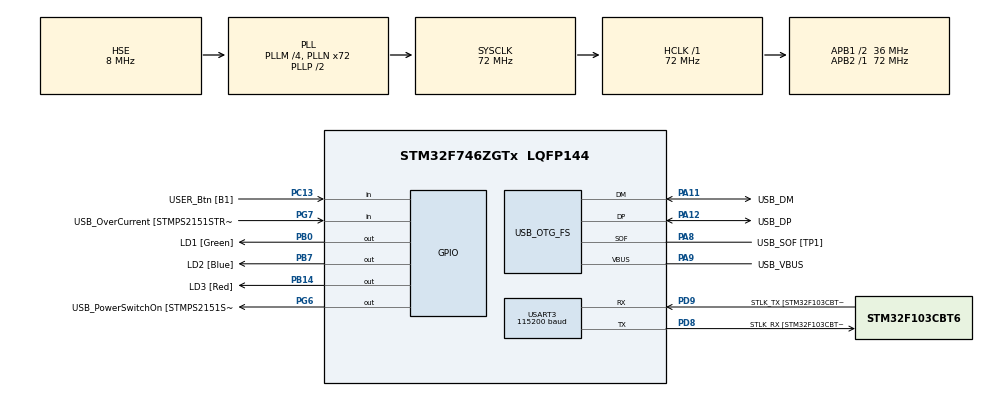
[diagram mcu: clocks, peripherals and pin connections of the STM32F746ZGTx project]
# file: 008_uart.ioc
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Mcu.Family=STM32F7
Mcu.Name=STM32F746ZGTx
Mcu.Package=LQFP144
NVIC.PriorityGroup=NVIC_PRIORITYGROUP_4
PA1.GPIO_Label=RMII_REF_CLK [LAN8742A-CZ-TR_REFCLK0]
PA1.Signal=ETH_REF_CLK
PA10.GPIO_Label=USB_ID
PA10.Signal=USB_OTG_FS_ID
PA11.GPIO_Label=USB_DM
PA11.Mode=Device_Only
PA11.Signal=USB_OTG_FS_DM
PA12.GPIO_Label=USB_DP
PA12.Mode=Device_Only
PA12.Signal=USB_OTG_FS_DP
PA13.GPIO_Label=TMS
PA13.Mode=Serial_Wire
PA13.Signal=SYS_JTMS-SWDIO
PA14.GPIO_Label=TCK
PA14.Mode=Serial_Wire
PA14.Signal=SYS_JTCK-SWCLK
PA2.GPIO_Label=RMII_MDIO [LAN8742A-CZ-TR_MDIO]
PA2.Signal=ETH_MDIO
PA3.Signal=USART2_RX
PA7.GPIO_Label=RMII_CRS_DV [LAN8742A-CZ-TR_CRS_DV]
PA7.Signal=ETH_CRS_DV
PA8.GPIO_Label=USB_SOF [TP1]
PA8.Mode=Activate_SOF_FS
PA8.Signal=USB_OTG_FS_SOF
PA9.GPIO_Label=USB_VBUS
PA9.Mode=Activate_VBUS
PA9.Signal=USB_OTG_FS_VBUS
PB0.GPIO_Label=LD1 [Green]
PB0.Signal=GPIO_Output
PB13.GPIO_Label=RMII_TXD1 [LAN8742A-CZ-TR_TXD1]
PB13.Signal=ETH_TXD1
PB14.GPIO_Label=LD3 [Red]
PB14.Signal=GPIO_Output
PB3.GPIO_Label=SW0
PB3.Signal=SYS_JTDO-SWO
PB7.GPIO_Label=LD2 [Blue]
PB7.Signal=GPIO_Output
PC1.GPIO_Label=RMII_MDC [LAN8742A-CZ-TR_MDC]
PC1.Signal=ETH_MDC
PC13.GPIO_Label=USER_Btn [B1]
PC13.Signal=GPIO_Input
PC14/OSC32_IN.Mode=LSE-External-Oscillator
PC14/OSC32_IN.Signal=RCC_OSC32_IN
PC15/OSC32_OUT.Mode=LSE-External-Oscillator
PC15/OSC32_OUT.Signal=RCC_OSC32_OUT
PC4.GPIO_Label=RMII_RXD0 [LAN8742A-CZ-TR_RXD0]
PC4.Signal=ETH_RXD0
PC5.GPIO_Label=RMII_RXD1 [LAN8742A-CZ-TR_RXD1]
PC5.Signal=ETH_RXD1
PD8.GPIO_Label=STLK_RX [STM32F103CBT6_PA3]
PD8.Mode=Asynchronous
PD8.Signal=USART3_TX
PD9.GPIO_Label=STLK_TX [STM32F103CBT6_PA2]
PD9.Mode=Asynchronous
PD9.Signal=USART3_RX
PG11.GPIO_Label=RMII_TX_EN [LAN8742A-CZ-TR_TXEN]
PG11.Signal=ETH_TX_EN
PG13.GPIO_Label=RMII_TXD0 [LAN8742A-CZ-TR_TXD0]
PG13.Signal=ETH_TXD0
PG6.GPIO_Label=USB_PowerSwitchOn [STMPS2151STR_EN]
PG6.Signal=GPIO_Output
PG7.GPIO_Label=USB_OverCurrent [STMPS2151STR_FAULT]
PG7.Signal=GPIO_Input
PH0/OSC_IN.GPIO_Label=MCO [STM32F103CBT6_PA8]
PH0/OSC_IN.Mode=HSE-External-Clock-Source
PH0/OSC_IN.Signal=RCC_OSC_IN
PH1/OSC_OUT.Mode=HSE-External-Clock-Source
PH1/OSC_OUT.Signal=RCC_OSC_OUT
ProjectManager.HeapSize=0x200
ProjectManager.StackSize=0x400
ProjectManager.TargetToolchain=STM32CubeIDE
RCC.48MHZClocksFreq_Value=24000000
RCC.AHBFreq_Value=72000000
RCC.APB1CLKDivider=RCC_HCLK_DIV2
RCC.APB1Freq_Value=36000000
RCC.APB1TimFreq_Value=72000000
RCC.APB2Freq_Value=72000000
RCC.APB2TimFreq_Value=72000000
RCC.CortexFreq_Value=72000000
RCC.HCLKFreq_Value=72000000
RCC.HSE_VALUE=8000000
RCC.HSI_VALUE=16000000
RCC.PLLM=4
RCC.PLLMUL=RCC_PLL_MUL9
RCC.PLLN=72
RCC.PLLQ=3
RCC.PRESCALERUSB=RCC_USBCLKSOURCE_PLL_DIV1_5
RCC.SYSCLKFreq_VALUE=72000000
RCC.SYSCLKSource=RCC_SYSCLKSOURCE_PLLCLK
RCC.SYSCLKSourceVirtual=RCC_SYSCLKSOURCE_PLLCLK
RCC.USBFreq_Value=48000000
RCC.VCOOutputFreq_Value=144000000
USART3.BaudRate=115200
USART3.VirtualMode-Asynchronous=VM_ASYNC
USB_OTG_FS.VirtualMode=Device_Only
board=NUCLEO-F746ZG

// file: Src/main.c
/* USER CODE BEGIN Header */
/**
  ******************************************************************************
  * @file           : main.c
  * @brief          : Main program body
  ******************************************************************************
  * @attention
  *
  * <h2><center>&copy; Copyright (c) 2020 STMicroelectronics.
  * All rights reserved.</center></h2>
  *
  * This software component is licensed by ST under BSD 3-Clause license,
  * the "License"; You may not use this file except in compliance with the
  * License. You may obtain a copy of the License at:
  *                        opensource.org/licenses/BSD-3-Clause
  *
  ******************************************************************************
  */
/* USER CODE END Header */
#include "main.h"

UART_HandleTypeDef huart3;

PCD_HandleTypeDef hpcd_USB_OTG_FS;

void SystemClock_Config(void);
static void MX_GPIO_Init(void);
static void MX_USART3_UART_Init(void);
static void MX_USB_OTG_FS_PCD_Init(void);

int main(void)
{

  /* MCU Configuration--------------------------------------------------------*/

  /* Reset of all peripherals, Initializes the Flash interface and the Systick. */
  HAL_Init();

  /* Configure the system clock */
  SystemClock_Config();

  /* Initialize all configured peripherals */
  MX_GPIO_Init();
  MX_USART3_UART_Init();
  MX_USB_OTG_FS_PCD_Init();

  /* Infinite loop */
  /* USER CODE BEGIN WHILE */
  GPIO_PinState state = HAL_GPIO_ReadPin(GPIOC, GPIO_PIN_13);
  while (1)
  {
    /* USER CODE END WHILE */

    /* USER CODE BEGIN 3 */
    GPIO_PinState new_state = HAL_GPIO_ReadPin(GPIOC, GPIO_PIN_13);
    if (state!=new_state) {
      state=new_state;
      HAL_Delay(10); // delay for debouncing
      // sending text over fast 115200bps will cause delay of 1ms per 10 characters
      // sending text over slow   9600bps will cause delay of 1ms per character - set timeout accordingly
      if (state) {
        HAL_GPIO_TogglePin(GPIOB, GPIO_PIN_0);
        HAL_UART_Transmit(&huart3, (void*)"button pressed\r\n", 16, 2);
        if (HAL_GPIO_ReadPin(GPIOB, GPIO_PIN_0)) {
          HAL_UART_Transmit(&huart3, (void*)"LED is on\r\n", 11, 2);
        } else {
          HAL_UART_Transmit(&huart3, (void*)"LED is off\r\n", 12, 2);
        }
      } else {
        HAL_UART_Transmit(&huart3, (void*)"button released\r\n", 17, 2);
      }
    }

    unsigned char buffer[2];
    HAL_StatusTypeDef status = HAL_UART_Receive(&huart3, buffer, 1, 0);
    // Note: timeout of 0ms means that either a byte is already received and waiting or timeout is returned
    if ( HAL_OK == status ) {
      if (buffer[0]=='0') {
        HAL_GPIO_WritePin(GPIOB, GPIO_PIN_0, GPIO_PIN_RESET);
      } else if (buffer[0]=='1') {
        HAL_GPIO_WritePin(GPIOB, GPIO_PIN_0, GPIO_PIN_SET);
      } else{
        // nothing - unrecognized command
      }
    }
  }
  /* USER CODE END 3 */
}

void SystemClock_Config(void)
{
  RCC_OscInitTypeDef RCC_OscInitStruct = {0};
  RCC_ClkInitTypeDef RCC_ClkInitStruct = {0};

  /** Configure LSE Drive Capability
  */
  HAL_PWR_EnableBkUpAccess();
  /** Configure the main internal regulator output voltage
  */
  __HAL_RCC_PWR_CLK_ENABLE();
  __HAL_PWR_VOLTAGESCALING_CONFIG(PWR_REGULATOR_VOLTAGE_SCALE3);
  /** Initializes the RCC Oscillators according to the specified parameters
  * in the RCC_OscInitTypeDef structure.
  */
  RCC_OscInitStruct.OscillatorType = RCC_OSCILLATORTYPE_HSE;
  RCC_OscInitStruct.HSEState = RCC_HSE_BYPASS;
  RCC_OscInitStruct.PLL.PLLState = RCC_PLL_ON;
  RCC_OscInitStruct.PLL.PLLSource = RCC_PLLSOURCE_HSE;
  RCC_OscInitStruct.PLL.PLLM = 4;
  RCC_OscInitStruct.PLL.PLLN = 72;
  RCC_OscInitStruct.PLL.PLLP = RCC_PLLP_DIV2;
  RCC_OscInitStruct.PLL.PLLQ = 3;
  if (HAL_RCC_OscConfig(&RCC_OscInitStruct) != HAL_OK)
  {
    Error_Handler();
  }
  /** Initializes the CPU, AHB and APB buses clocks
  */
  RCC_ClkInitStruct.ClockType = RCC_CLOCKTYPE_HCLK|RCC_CLOCKTYPE_SYSCLK
                              |RCC_CLOCKTYPE_PCLK1|RCC_CLOCKTYPE_PCLK2;
  RCC_ClkInitStruct.SYSCLKSource = RCC_SYSCLKSOURCE_PLLCLK;
  RCC_ClkInitStruct.AHBCLKDivider = RCC_SYSCLK_DIV1;
  RCC_ClkInitStruct.APB1CLKDivider = RCC_HCLK_DIV2;
  RCC_ClkInitStruct.APB2CLKDivider = RCC_HCLK_DIV1;

  if (HAL_RCC_ClockConfig(&RCC_ClkInitStruct, FLASH_LATENCY_2) != HAL_OK)
  {
    Error_Handler();
  }
}

static void MX_USART3_UART_Init(void)
{

  huart3.Instance = USART3;
  huart3.Init.BaudRate = 115200;
  huart3.Init.WordLength = UART_WORDLENGTH_8B;
  huart3.Init.StopBits = UART_STOPBITS_1;
  huart3.Init.Parity = UART_PARITY_NONE;
  huart3.Init.Mode = UART_MODE_TX_RX;
  huart3.Init.HwFlowCtl = UART_HWCONTROL_NONE;
  huart3.Init.OverSampling = UART_OVERSAMPLING_16;
  huart3.Init.OneBitSampling = UART_ONE_BIT_SAMPLE_DISABLE;
  huart3.AdvancedInit.AdvFeatureInit = UART_ADVFEATURE_NO_INIT;
  if (HAL_UART_Init(&huart3) != HAL_OK)
  {
    Error_Handler();
  }

}

static void MX_USB_OTG_FS_PCD_Init(void)
{

  hpcd_USB_OTG_FS.Instance = USB_OTG_FS;
  hpcd_USB_OTG_FS.Init.dev_endpoints = 6;
  hpcd_USB_OTG_FS.Init.speed = PCD_SPEED_FULL;
  hpcd_USB_OTG_FS.Init.dma_enable = DISABLE;
  hpcd_USB_OTG_FS.Init.phy_itface = PCD_PHY_EMBEDDED;
  hpcd_USB_OTG_FS.Init.Sof_enable = ENABLE;
  hpcd_USB_OTG_FS.Init.low_power_enable = DISABLE;
  hpcd_USB_OTG_FS.Init.lpm_enable = DISABLE;
  hpcd_USB_OTG_FS.Init.vbus_sensing_enable = ENABLE;
  hpcd_USB_OTG_FS.Init.use_dedicated_ep1 = DISABLE;
  if (HAL_PCD_Init(&hpcd_USB_OTG_FS) != HAL_OK)
  {
    Error_Handler();
  }

}

static void MX_GPIO_Init(void)
{
  GPIO_InitTypeDef GPIO_InitStruct = {0};

  /* GPIO Ports Clock Enable */
  __HAL_RCC_GPIOC_CLK_ENABLE();
  __HAL_RCC_GPIOH_CLK_ENABLE();
  __HAL_RCC_GPIOA_CLK_ENABLE();
  __HAL_RCC_GPIOB_CLK_ENABLE();
  __HAL_RCC_GPIOD_CLK_ENABLE();
  __HAL_RCC_GPIOG_CLK_ENABLE();

  /*Configure GPIO pin Output Level */
  HAL_GPIO_WritePin(GPIOB, LD1_Pin|LD3_Pin|LD2_Pin, GPIO_PIN_RESET);

  /*Configure GPIO pin Output Level */
  HAL_GPIO_WritePin(USB_PowerSwitchOn_GPIO_Port, USB_PowerSwitchOn_Pin, GPIO_PIN_RESET);

  /*Configure GPIO pin : USER_Btn_Pin */
  GPIO_InitStruct.Pin = USER_Btn_Pin;
  GPIO_InitStruct.Mode = GPIO_MODE_INPUT;
  GPIO_InitStruct.Pull = GPIO_NOPULL;
  HAL_GPIO_Init(USER_Btn_GPIO_Port, &GPIO_InitStruct);

  /*Configure GPIO pins : RMII_MDC_Pin RMII_RXD0_Pin RMII_RXD1_Pin */
  GPIO_InitStruct.Pin = RMII_MDC_Pin|RMII_RXD0_Pin|RMII_RXD1_Pin;
  GPIO_InitStruct.Mode = GPIO_MODE_AF_PP;
  GPIO_InitStruct.Pull = GPIO_NOPULL;
  GPIO_InitStruct.Speed = GPIO_SPEED_FREQ_VERY_HIGH;
  GPIO_InitStruct.Alternate = GPIO_AF11_ETH;
  HAL_GPIO_Init(GPIOC, &GPIO_InitStruct);

  /*Configure GPIO pins : RMII_REF_CLK_Pin RMII_MDIO_Pin RMII_CRS_DV_Pin */
  GPIO_InitStruct.Pin = RMII_REF_CLK_Pin|RMII_MDIO_Pin|RMII_CRS_DV_Pin;
  GPIO_InitStruct.Mode = GPIO_MODE_AF_PP;
  GPIO_InitStruct.Pull = GPIO_NOPULL;
  GPIO_InitStruct.Speed = GPIO_SPEED_FREQ_VERY_HIGH;
  GPIO_InitStruct.Alternate = GPIO_AF11_ETH;
  HAL_GPIO_Init(GPIOA, &GPIO_InitStruct);

  /*Configure GPIO pin : PA3 */
  GPIO_InitStruct.Pin = GPIO_PIN_3;
  GPIO_InitStruct.Mode = GPIO_MODE_AF_PP;
  GPIO_InitStruct.Pull = GPIO_NOPULL;
  GPIO_InitStruct.Speed = GPIO_SPEED_FREQ_VERY_HIGH;
  GPIO_InitStruct.Alternate = GPIO_AF7_USART2;
  HAL_GPIO_Init(GPIOA, &GPIO_InitStruct);

  /*Configure GPIO pins : LD1_Pin LD3_Pin LD2_Pin */
  GPIO_InitStruct.Pin = LD1_Pin|LD3_Pin|LD2_Pin;
  GPIO_InitStruct.Mode = GPIO_MODE_OUTPUT_PP;
  GPIO_InitStruct.Pull = GPIO_NOPULL;
  GPIO_InitStruct.Speed = GPIO_SPEED_FREQ_LOW;
  HAL_GPIO_Init(GPIOB, &GPIO_InitStruct);

  /*Configure GPIO pin : RMII_TXD1_Pin */
  GPIO_InitStruct.Pin = RMII_TXD1_Pin;
  GPIO_InitStruct.Mode = GPIO_MODE_AF_PP;
  GPIO_InitStruct.Pull = GPIO_NOPULL;
  GPIO_InitStruct.Speed = GPIO_SPEED_FREQ_VERY_HIGH;
  GPIO_InitStruct.Alternate = GPIO_AF11_ETH;
  HAL_GPIO_Init(RMII_TXD1_GPIO_Port, &GPIO_InitStruct);

  /*Configure GPIO pin : USB_PowerSwitchOn_Pin */
  GPIO_InitStruct.Pin = USB_PowerSwitchOn_Pin;
  GPIO_InitStruct.Mode = GPIO_MODE_OUTPUT_PP;
  GPIO_InitStruct.Pull = GPIO_NOPULL;
  GPIO_InitStruct.Speed = GPIO_SPEED_FREQ_LOW;
  HAL_GPIO_Init(USB_PowerSwitchOn_GPIO_Port, &GPIO_InitStruct);

  /*Configure GPIO pin : USB_OverCurrent_Pin */
  GPIO_InitStruct.Pin = USB_OverCurrent_Pin;
  GPIO_InitStruct.Mode = GPIO_MODE_INPUT;
  GPIO_InitStruct.Pull = GPIO_NOPULL;
  HAL_GPIO_Init(USB_OverCurrent_GPIO_Port, &GPIO_InitStruct);

  /*Configure GPIO pins : RMII_TX_EN_Pin RMII_TXD0_Pin */
  GPIO_InitStruct.Pin = RMII_TX_EN_Pin|RMII_TXD0_Pin;
  GPIO_InitStruct.Mode = GPIO_MODE_AF_PP;
  GPIO_InitStruct.Pull = GPIO_NOPULL;
  GPIO_InitStruct.Speed = GPIO_SPEED_FREQ_VERY_HIGH;
  GPIO_InitStruct.Alternate = GPIO_AF11_ETH;
  HAL_GPIO_Init(GPIOG, &GPIO_InitStruct);

}

void Error_Handler(void)
{
}
